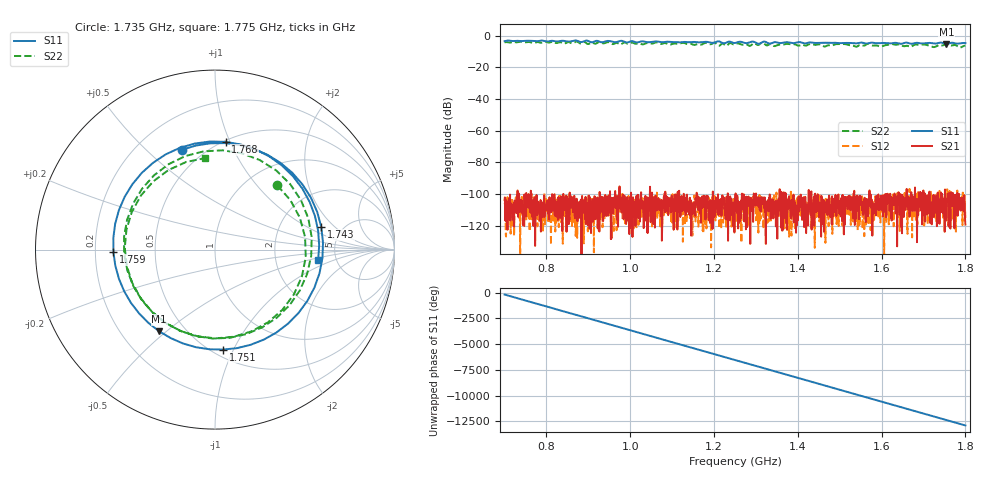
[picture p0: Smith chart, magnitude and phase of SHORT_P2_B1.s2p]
# Hz S RI R 50
! RAW DATA - UNCALIBRATED
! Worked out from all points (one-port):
!   1601 points, 700 MHz to 1.8 GHz, reference 50 ohm
!   lowest |S11| = -5.2 dB at 1.755 GHz (marker M1), VSWR 3.46, Z = 18.1 - j23.6 ohm
!   |S11| at or under -10 dB: nowhere
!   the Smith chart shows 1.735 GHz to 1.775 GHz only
!   S11 on the Smith chart (normalised r, x): 1.735 GHz: 0.38, +0.65; 1.743 GHz: 3.47, +1.39; 1.751 GHz: 0.56, -0.91; 1.759 GHz: 0.28, -0.01; 1.768 GHz: 0.51, +0.96; 1.775 GHz: 3.62, -0.63
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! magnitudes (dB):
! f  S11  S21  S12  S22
! 700 MHz  -3.4  -103.7  -106.5  -4.2
! 883.6 MHz  -4.0  -147.5  -104.1  -4.8
! 1.067 GHz  -3.7  -102.5  -103.6  -4.5
! 1.25 GHz  -4.6  -105.9  -115.8  -5.4
! 1.315 GHz  -4.0  -106.2  -104.4  -4.3
! 1.345 GHz  -4.0  -107.3  -107.9  -6.5
! 1.434 GHz  -4.3  -113.0  -104.9  -5.4
! 1.464 GHz  -4.4  -111.9  -110.3  -6.8
! 1.509 GHz  -4.5  -110.2  -113.0  -5.2
! 1.539 GHz  -4.8  -106.0  -112.2  -7.0
! 1.568 GHz  -4.8  -114.1  -112.1  -5.1
! 1.597 GHz  -4.6  -107.3  -118.0  -6.8
! 1.617 GHz  -4.8  -104.3  -119.2  -5.6
! 1.735 GHz  -4.6  -101.6  -109.1  -6.0
! 1.743 GHz  -4.4  -111.4  -105.6  -6.1
! 1.751 GHz  -5.1  -97.1  -103.6  -5.4
! 1.755 GHz  -5.2  -103.1  -112.6  -5.1
! 1.759 GHz  -4.9  -99.8  -119.8  -5.4
! 1.768 GHz  -4.4  -103.1  -116.4  -6.1
! 1.775 GHz  -4.8  -102.6  -109.5  -5.8
! 1.787 GHz  -4.8  -103.5  -106.8  -7.5
! 1.8 GHz  -4.6  -119.3  -115.1  -6.2
